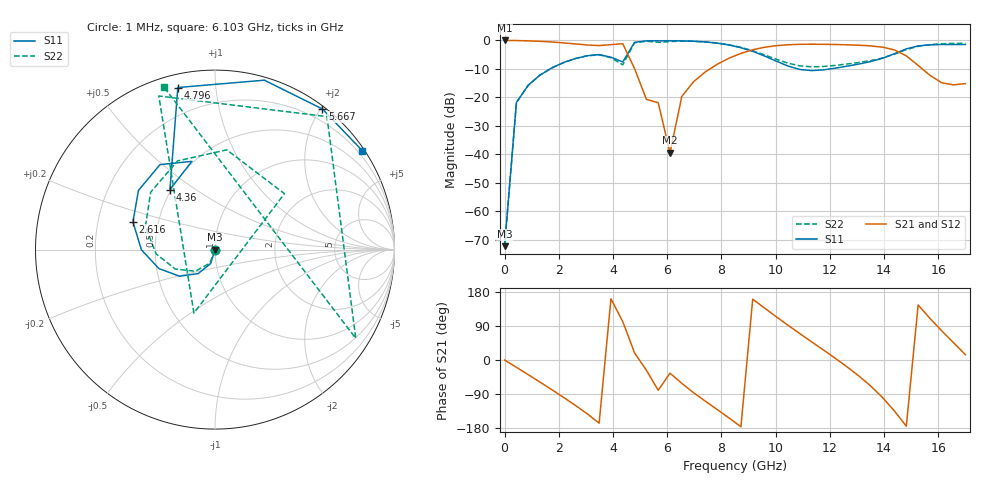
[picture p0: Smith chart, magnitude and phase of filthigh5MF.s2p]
# GHz S RI R 50
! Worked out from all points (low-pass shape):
!   40 points, 1 MHz to 17 GHz, reference 50 ohm
!   highest |S21| = 0.00 dB at 1 MHz (marker M1); lowest = -39.5 dB at 6.103 GHz (marker M2)
!   |S21| within 3 dB of the highest: start of sweep to 4.452 GHz; 9.292 GHz to 14.23 GHz (4.942 GHz wide, 42 % of centre)
!   lowest |S11| = -72.3 dB at 1 MHz (marker M3), VSWR 1.00, Z = 50 - j0.0176 ohm
!   |S11| at or under -10 dB: start of sweep to 1.681 GHz; 10.82 GHz to 12.02 GHz (1.196 GHz wide, 10.5 % of centre)
!   |S22| runs from -72.3 to -0.2 dB; largest |S21 - S12| = 2.6e-13
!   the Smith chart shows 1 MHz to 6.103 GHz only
!   S11 on the Smith chart (normalised r, x): 1 MHz: 1.00, -0.00; 2.616 GHz: 0.36, +0.14; 4.36 GHz: 0.49, +0.40; 4.796 GHz: 0.06, +0.79; 5.667 GHz: 0.04, +2.02; 6.103 GHz: 0.07, +3.28
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0.001  0.000166 -0.000176  0.9998 -0.000781  0.9998 -0.000781  0.000166 -0.000176
0.4368718  -0.0241 -0.0775  0.9389 -0.3297  0.9389 -0.3297  -0.0289 -0.0757
1.744487  -0.3124 -0.1058  0.189 -0.9199  0.189 -0.9199  -0.3278 -0.0242
2.616231  -0.4572 0.1541  -0.4334 -0.7519  -0.4334 -0.7519  -0.3582 0.3202
3.052103  -0.4265 0.3298  -0.6571 -0.5105  -0.6571 -0.5105  -0.2087 0.4942
3.923846  -0.1289 0.4917  -0.8 0.2682  -0.8 0.2682  0.3869 0.3117
4.359718  -0.2509 0.3348  -0.1719 0.8588  -0.1719 0.8588  -0.1174 -0.3539
4.79559  -0.2072 0.903  0.3032 0.1026  0.3032 0.1026  -0.3131 0.8559
5.231462  0.2754 0.9439  0.0821 -0.0417  0.0821 -0.0417  0.6238 0.741
5.667333  0.5981 0.7835  0.0143 -0.0793  0.0143 -0.0793  0.7843 -0.4944
6.103205  0.8211 0.551  0.00871 -0.00606  0.00871 -0.00606  -0.2864 0.9083
6.539077  0.947 0.2612  0.0495 -0.0916  0.0495 -0.0916  0.7171 0.6654
6.974949  0.9659 -0.0527  0.0112 -0.1884  0.0112 -0.1884  0.9487 0.1902
8.718436  0.033 -0.7456  -0.5912 -0.0402  -0.5912 -0.0402  0.1428 -0.7426
10.02605  -0.4231 -0.0893  -0.3288 0.7406  -0.3288 0.7406  -0.3209 -0.3388
11.33367  -0.0177 0.2942  0.5784 0.6352  0.5784 0.6352  -0.3392 -0.0543
12.64128  0.3382 0.103  0.7951 -0.2656  0.7951 -0.2656  -0.2504 0.2938
13.51303  0.4021 -0.1397  0.2862 -0.7493  0.2862 -0.7493  0.181 0.4043
14.38477  0.3457 -0.4723  -0.4782 -0.4843  -0.4782 -0.4843  0.4851 -0.3077
14.82064  0.1445 -0.6966  -0.5336 -0.0492  -0.5336 -0.0492  -0.00959 -0.6897
15.69238  -0.5924 -0.5917  -0.0822 0.2295  -0.0822 0.2295  -0.83 0.1563
17  -0.6795 0.5051  0.1692 0.0426  0.1692 0.0426  0.3703 0.8096
